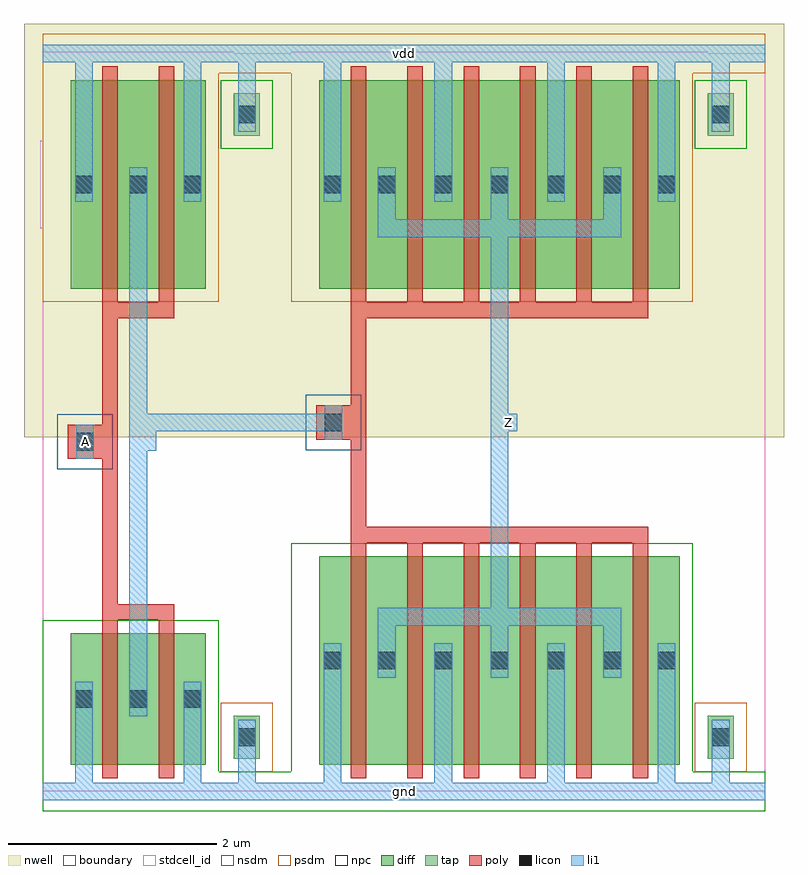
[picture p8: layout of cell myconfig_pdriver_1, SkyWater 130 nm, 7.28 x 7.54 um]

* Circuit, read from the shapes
.subckt myconfig_pdriver_1 A Z gnd vdd
XM1 myconfig_pinv_6_1/A A gnd gnd sky130_fd_pr__nfet_01v8 w=1.26 l=0.15 m=2
XM2 Z myconfig_pinv_6_1/A gnd gnd sky130_fd_pr__nfet_01v8 w=2 l=0.15 m=6
XM3 myconfig_pinv_6_1/A A vdd vdd sky130_fd_pr__pfet_01v8 w=2 l=0.15 m=2
XM4 Z myconfig_pinv_6_1/A vdd vdd sky130_fd_pr__pfet_01v8 w=2 l=0.15 m=6
.ends

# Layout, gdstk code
import gdstk
lib = gdstk.Library(unit=1e-6, precision=1e-09)
def R(c, l, rs):  # rectangles x0, y0, x1, y1
    for r in rs: c.add(gdstk.rectangle(r[:2], r[2:], *l))
def A(c, l, x, y, w, h, nx, ny, dx, dy):  # array of equal rectangles
    R(c, l, [(x+i*dx, y+j*dy, x+i*dx+w, y+j*dy+h) for i in range(nx) for j in range(ny)])
nwell = (64, 20)
diff = (65, 20)
tap = (65, 44)
poly = (66, 20)
licon = (66, 44)
li1 = (67, 20)
stdcell_id = (81, 4)
nsdm = (93, 44)
psdm = (94, 20)
npc = (95, 20)
boundary = (235, 4)

myconfig_contact_11 = lib.new_cell('myconfig_contact_11')
R(myconfig_contact_11, nwell, [(-0.295,-0.255,0.545,0.585)])
R(myconfig_contact_11, diff, [(0,0.02,0.25,0.31)])
R(myconfig_contact_11, licon, [(0.04,0.08,0.21,0.25)])
R(myconfig_contact_11, li1, [(0.04,0,0.21,0.33)])
R(myconfig_contact_11, stdcell_id, [(-0.295,-0.255,0.545,0.585)])
R(myconfig_contact_11, psdm, [(-0.125,-0.105,0.375,0.435)])
R(myconfig_contact_11, boundary, [(-0.295,-0.255,0.545,0.585)])

myconfig_pmos_m2_w2_000_ = lib.new_cell('myconfig_pmos_m2_w2_000_sli_dli_da_p')
R(myconfig_pmos_m2_w2_000_, nwell, [(-0.27,-0.27,1.56,2.27)])
R(myconfig_pmos_m2_w2_000_, diff, [(0,0,1.29,2)])
R(myconfig_pmos_m2_w2_000_, poly, [(0.3,-0.28,0.99,-0.13), (0.3,-0.13,0.45,2.13), (0.84,-0.13,0.99,2.13)])
A(myconfig_pmos_m2_w2_000_, li1, 0.04, 0.835, 0.17, 0.33, 3, 1, 0.52, 0)
R(myconfig_pmos_m2_w2_000_, stdcell_id, [(-0.27,-0.28,1.56,2.27)])
R(myconfig_pmos_m2_w2_000_, psdm, [(-0.125,-0.125,1.415,2.125)])
R(myconfig_pmos_m2_w2_000_, boundary, [(-0.27,-0.28,1.56,2.27)])
myconfig_pmos_m2_w2_000_.add(gdstk.Reference(myconfig_contact_11, (0,0.835)))
myconfig_pmos_m2_w2_000_.add(gdstk.Reference(myconfig_contact_11, (0.52,0.835)))
myconfig_pmos_m2_w2_000_.add(gdstk.Reference(myconfig_contact_11, (1.04,0.835)))
myconfig_pmos_m2_w2_000_.add(gdstk.Label('G', (0.645,-0.205), layer=66, texttype=5))
myconfig_pmos_m2_w2_000_.add(gdstk.Label('S', (0.125,1), layer=67, texttype=5))
myconfig_pmos_m2_w2_000_.add(gdstk.Label('S', (1.165,1), layer=67, texttype=5))
myconfig_pmos_m2_w2_000_.add(gdstk.Label('D', (0.645,1), layer=67, texttype=5))

myconfig_contact_10 = lib.new_cell('myconfig_contact_10')
R(myconfig_contact_10, diff, [(0,0.02,0.25,0.31)])
R(myconfig_contact_10, licon, [(0.04,0.08,0.21,0.25)])
R(myconfig_contact_10, li1, [(0.04,0,0.21,0.33)])
R(myconfig_contact_10, stdcell_id, [(-0.125,-0.105,0.375,0.435)])
R(myconfig_contact_10, nsdm, [(-0.125,-0.105,0.375,0.435)])
R(myconfig_contact_10, boundary, [(-0.125,-0.105,0.375,0.435)])

myconfig_nmos_m2_w1_260_ = lib.new_cell('myconfig_nmos_m2_w1_260_sli_dli_da_p')
R(myconfig_nmos_m2_w1_260_, diff, [(0,0,1.29,1.26)])
R(myconfig_nmos_m2_w1_260_, poly, [(0.3,-0.13,0.45,1.39), (0.84,-0.13,0.99,1.39), (0.3,1.39,0.99,1.54)])
A(myconfig_nmos_m2_w1_260_, li1, 0.04, 0.465, 0.17, 0.33, 3, 1, 0.52, 0)
R(myconfig_nmos_m2_w1_260_, stdcell_id, [(-0.125,-0.13,1.415,1.54)])
R(myconfig_nmos_m2_w1_260_, nsdm, [(-0.125,-0.125,1.415,1.385)])
R(myconfig_nmos_m2_w1_260_, boundary, [(-0.125,-0.13,1.415,1.54)])
myconfig_nmos_m2_w1_260_.add(gdstk.Reference(myconfig_contact_10, (0,0.465)))
myconfig_nmos_m2_w1_260_.add(gdstk.Reference(myconfig_contact_10, (0.52,0.465)))
myconfig_nmos_m2_w1_260_.add(gdstk.Reference(myconfig_contact_10, (1.04,0.465)))
myconfig_nmos_m2_w1_260_.add(gdstk.Label('G', (0.645,1.465), layer=66, texttype=5))
myconfig_nmos_m2_w1_260_.add(gdstk.Label('S', (1.165,0.63), layer=67, texttype=5))
myconfig_nmos_m2_w1_260_.add(gdstk.Label('S', (0.125,0.63), layer=67, texttype=5))
myconfig_nmos_m2_w1_260_.add(gdstk.Label('D', (0.645,0.63), layer=67, texttype=5))

myconfig_contact_28 = lib.new_cell('myconfig_contact_28')
R(myconfig_contact_28, nwell, [(-0.295,-0.215,0.545,0.625)])
R(myconfig_contact_28, tap, [(0,0,0.25,0.41)])
R(myconfig_contact_28, licon, [(0.04,0.12,0.21,0.29)])
R(myconfig_contact_28, li1, [(0.04,0.04,0.21,0.37)])
R(myconfig_contact_28, stdcell_id, [(-0.295,-0.215,0.545,0.625)])
R(myconfig_contact_28, nsdm, [(-0.125,-0.125,0.375,0.535)])
R(myconfig_contact_28, boundary, [(-0.295,-0.215,0.545,0.625)])

myconfig_contact_29 = lib.new_cell('myconfig_contact_29')
R(myconfig_contact_29, tap, [(0,0,0.25,0.41)])
R(myconfig_contact_29, licon, [(0.04,0.12,0.21,0.29)])
R(myconfig_contact_29, li1, [(0.04,0.04,0.21,0.37)])
R(myconfig_contact_29, stdcell_id, [(-0.125,-0.125,0.375,0.535)])
R(myconfig_contact_29, psdm, [(-0.125,-0.125,0.375,0.535)])
R(myconfig_contact_29, boundary, [(-0.125,-0.125,0.375,0.535)])

myconfig_contact_15 = lib.new_cell('myconfig_contact_15')
R(myconfig_contact_15, poly, [(0,0,0.33,0.33)])
R(myconfig_contact_15, licon, [(0.08,0.08,0.25,0.25)])
R(myconfig_contact_15, li1, [(0.08,0,0.25,0.33)])
R(myconfig_contact_15, stdcell_id, [(-0.1,-0.1,0.43,0.43)])
R(myconfig_contact_15, npc, [(-0.1,-0.1,0.43,0.43)])
R(myconfig_contact_15, boundary, [(-0.1,-0.1,0.43,0.43)])

myconfig_pinv_5 = lib.new_cell('myconfig_pinv_5')
R(myconfig_pinv_5, nwell, [(-0.18,3.395,2.56,7.355)])
R(myconfig_pinv_5, poly, [(0.57,1.795,0.72,4.535), (0.405,3.185,0.57,3.515)])
R(myconfig_pinv_5, li1, [(0,-0.085,2.38,0.085), (0.31,-0.085,0.48,0.72), (1.35,-0.085,1.52,0.72), (1.87,0,2.04,0.52), (0.83,0.72,1,5.98), (0.32,3.185,0.49,3.515), (0.915,3.265,1.085,3.435), (0.31,5.65,0.48,7.155), (1.35,5.65,1.52,7.155), (1.87,6.485,2.04,7.07), (0,6.985,2.38,7.155)])
R(myconfig_pinv_5, stdcell_id, [(0,0,2.38,7.07), (0,0,2.38,7.07)])
R(myconfig_pinv_5, nsdm, [(0,-0.19,2.38,0.19), (0,0,1.685,1.64)])
R(myconfig_pinv_5, psdm, [(0,4.69,1.685,7.07), (0,6.88,2.38,7.26)])
R(myconfig_pinv_5, boundary, [(0,0,2.38,7.07), (0,0,2.38,7.07)])
myconfig_pinv_5.add(gdstk.Reference(myconfig_pmos_m2_w2_000_, (0.27,4.815)))
myconfig_pinv_5.add(gdstk.Reference(myconfig_nmos_m2_w1_260_, (0.27,0.255)))
myconfig_pinv_5.add(gdstk.Reference(myconfig_contact_28, (1.83,6.28)))
myconfig_pinv_5.add(gdstk.Reference(myconfig_contact_29, (1.83,0.315)))
myconfig_pinv_5.add(gdstk.Reference(myconfig_contact_15, (0.24,3.185)))
myconfig_pinv_5.add(gdstk.Label('A', (0.405,3.35), layer=67, texttype=5))
myconfig_pinv_5.add(gdstk.Label('Z', (1,3.35), layer=67, texttype=5))
myconfig_pinv_5.add(gdstk.Label('gnd', (1.19,0), layer=67, texttype=5))
myconfig_pinv_5.add(gdstk.Label('vdd', (1.19,7.07), layer=67, texttype=5))

myconfig_pmos_m6_w2_000_ = lib.new_cell('myconfig_pmos_m6_w2_000_sli_dli_da_p')
R(myconfig_pmos_m6_w2_000_, nwell, [(-0.27,-0.27,3.72,2.27)])
R(myconfig_pmos_m6_w2_000_, diff, [(0,0,3.45,2)])
A(myconfig_pmos_m6_w2_000_, poly, 0.3, -0.13, 0.15, 2.26, 6, 1, 0.54, 0)
R(myconfig_pmos_m6_w2_000_, poly, [(0.3,-0.28,3.15,-0.13)])
A(myconfig_pmos_m6_w2_000_, li1, 0.56, 0.58, 0.17, 0.42, 3, 1, 1.08, 0)
R(myconfig_pmos_m6_w2_000_, li1, [(0.56,0.495,2.89,0.665), (0.04,0.835,0.21,1.165), (1.1,0.835,1.27,1.165), (2.18,0.835,2.35,1.165), (3.24,0.835,3.41,1.165)])
R(myconfig_pmos_m6_w2_000_, stdcell_id, [(-0.27,-0.28,3.72,2.27)])
R(myconfig_pmos_m6_w2_000_, psdm, [(-0.125,-0.125,3.575,2.125)])
R(myconfig_pmos_m6_w2_000_, boundary, [(-0.27,-0.28,3.72,2.27)])
myconfig_pmos_m6_w2_000_.add(gdstk.Reference(myconfig_contact_11, (0,0.835)))
myconfig_pmos_m6_w2_000_.add(gdstk.Reference(myconfig_contact_11, (0.52,0.835)))
myconfig_pmos_m6_w2_000_.add(gdstk.Reference(myconfig_contact_11, (1.06,0.835)))
myconfig_pmos_m6_w2_000_.add(gdstk.Reference(myconfig_contact_11, (1.6,0.835)))
myconfig_pmos_m6_w2_000_.add(gdstk.Reference(myconfig_contact_11, (2.14,0.835)))
myconfig_pmos_m6_w2_000_.add(gdstk.Reference(myconfig_contact_11, (2.68,0.835)))
myconfig_pmos_m6_w2_000_.add(gdstk.Reference(myconfig_contact_11, (3.2,0.835)))
myconfig_pmos_m6_w2_000_.add(gdstk.Label('G', (1.725,-0.205), layer=66, texttype=5))
myconfig_pmos_m6_w2_000_.add(gdstk.Label('S', (3.325,1), layer=67, texttype=5))
myconfig_pmos_m6_w2_000_.add(gdstk.Label('S', (0.125,1), layer=67, texttype=5))
myconfig_pmos_m6_w2_000_.add(gdstk.Label('S', (2.265,1), layer=67, texttype=5))
myconfig_pmos_m6_w2_000_.add(gdstk.Label('S', (1.185,1), layer=67, texttype=5))
myconfig_pmos_m6_w2_000_.add(gdstk.Label('D', (1.725,0.58), layer=67, texttype=5))

myconfig_nmos_m6_w2_000_ = lib.new_cell('myconfig_nmos_m6_w2_000_sli_dli_da_p')
R(myconfig_nmos_m6_w2_000_, diff, [(0,0,3.45,2)])
A(myconfig_nmos_m6_w2_000_, poly, 0.3, -0.13, 0.15, 2.26, 6, 1, 0.54, 0)
R(myconfig_nmos_m6_w2_000_, poly, [(0.3,2.13,3.15,2.28)])
A(myconfig_nmos_m6_w2_000_, li1, 0.56, 1, 0.17, 0.42, 3, 1, 1.08, 0)
R(myconfig_nmos_m6_w2_000_, li1, [(0.04,0.835,0.21,1.165), (1.1,0.835,1.27,1.165), (2.18,0.835,2.35,1.165), (3.24,0.835,3.41,1.165), (0.56,1.335,2.89,1.505)])
R(myconfig_nmos_m6_w2_000_, stdcell_id, [(-0.125,-0.13,3.575,2.28)])
R(myconfig_nmos_m6_w2_000_, nsdm, [(-0.125,-0.125,3.575,2.125)])
R(myconfig_nmos_m6_w2_000_, boundary, [(-0.125,-0.13,3.575,2.28)])
myconfig_nmos_m6_w2_000_.add(gdstk.Reference(myconfig_contact_10, (0,0.835)))
myconfig_nmos_m6_w2_000_.add(gdstk.Reference(myconfig_contact_10, (0.52,0.835)))
myconfig_nmos_m6_w2_000_.add(gdstk.Reference(myconfig_contact_10, (1.06,0.835)))
myconfig_nmos_m6_w2_000_.add(gdstk.Reference(myconfig_contact_10, (1.6,0.835)))
myconfig_nmos_m6_w2_000_.add(gdstk.Reference(myconfig_contact_10, (2.14,0.835)))
myconfig_nmos_m6_w2_000_.add(gdstk.Reference(myconfig_contact_10, (2.68,0.835)))
myconfig_nmos_m6_w2_000_.add(gdstk.Reference(myconfig_contact_10, (3.2,0.835)))
myconfig_nmos_m6_w2_000_.add(gdstk.Label('G', (1.725,2.205), layer=66, texttype=5))
myconfig_nmos_m6_w2_000_.add(gdstk.Label('S', (3.325,1), layer=67, texttype=5))
myconfig_nmos_m6_w2_000_.add(gdstk.Label('S', (0.125,1), layer=67, texttype=5))
myconfig_nmos_m6_w2_000_.add(gdstk.Label('S', (2.265,1), layer=67, texttype=5))
myconfig_nmos_m6_w2_000_.add(gdstk.Label('S', (1.185,1), layer=67, texttype=5))
myconfig_nmos_m6_w2_000_.add(gdstk.Label('D', (1.725,1.42), layer=67, texttype=5))

myconfig_pinv_6 = lib.new_cell('myconfig_pinv_6')
R(myconfig_pinv_6, nwell, [(-0.18,3.395,4.72,7.355)])
R(myconfig_pinv_6, poly, [(0.57,2.535,0.72,4.535), (0.405,3.37,0.57,3.7)])
R(myconfig_pinv_6, li1, [(0,-0.085,4.54,0.085), (0.31,-0.085,0.48,1.09), (1.37,-0.085,1.54,1.09), (2.45,-0.085,2.62,1.09), (3.51,-0.085,3.68,1.09), (4.03,0,4.2,0.52), (1.91,1.59,2.08,5.48), (0.32,3.37,0.49,3.7), (1.995,3.45,2.165,3.62), (0.31,5.65,0.48,7.155), (1.37,5.65,1.54,7.155), (2.45,5.65,2.62,7.155), (3.51,5.65,3.68,7.155), (4.03,6.485,4.2,7.07), (0,6.985,4.54,7.155)])
R(myconfig_pinv_6, stdcell_id, [(0,0,4.54,7.07), (0,0,4.54,7.07)])
R(myconfig_pinv_6, nsdm, [(0,-0.19,4.54,0.19), (0,0,3.845,2.38)])
R(myconfig_pinv_6, psdm, [(0,4.69,3.845,7.07), (0,6.88,4.54,7.26)])
R(myconfig_pinv_6, boundary, [(0,0,4.54,7.07), (0,0,4.54,7.07)])
myconfig_pinv_6.add(gdstk.Reference(myconfig_pmos_m6_w2_000_, (0.27,4.815)))
myconfig_pinv_6.add(gdstk.Reference(myconfig_nmos_m6_w2_000_, (0.27,0.255)))
myconfig_pinv_6.add(gdstk.Reference(myconfig_contact_28, (3.99,6.28)))
myconfig_pinv_6.add(gdstk.Reference(myconfig_contact_29, (3.99,0.315)))
myconfig_pinv_6.add(gdstk.Reference(myconfig_contact_15, (0.24,3.37)))
myconfig_pinv_6.add(gdstk.Label('A', (0.405,3.535), layer=67, texttype=5))
myconfig_pinv_6.add(gdstk.Label('Z', (2.08,3.535), layer=67, texttype=5))
myconfig_pinv_6.add(gdstk.Label('gnd', (2.27,0), layer=67, texttype=5))
myconfig_pinv_6.add(gdstk.Label('vdd', (2.27,7.07), layer=67, texttype=5))

myconfig_pdriver_1 = lib.new_cell('myconfig_pdriver_1')
R(myconfig_pdriver_1, nwell, [(-0.18,3.395,7.1,7.355)])
R(myconfig_pdriver_1, li1, [(0,-0.085,6.92,0.085), (0.32,3.185,0.49,3.515), (0.915,3.35,1.085,3.535), (0.915,3.45,1.085,3.62), (1,3.45,2.785,3.62), (4.375,3.45,4.545,3.62), (0,6.985,6.92,7.155)])
R(myconfig_pdriver_1, stdcell_id, [(0,0,6.92,7.07), (0,0,6.92,7.07)])
R(myconfig_pdriver_1, nsdm, [(0,-0.19,6.92,0.19)])
R(myconfig_pdriver_1, psdm, [(0,6.88,6.92,7.26)])
R(myconfig_pdriver_1, boundary, [(0,0,6.92,7.07), (0,0,6.92,7.07)])
myconfig_pdriver_1.add(gdstk.Reference(myconfig_pinv_5, (0,0)))
myconfig_pdriver_1.add(gdstk.Reference(myconfig_pinv_6, (2.38,0)))
myconfig_pdriver_1.add(gdstk.Label('Z', (4.46,3.535), layer=67, texttype=5))
myconfig_pdriver_1.add(gdstk.Label('A', (0.405,3.35), layer=67, texttype=5))
myconfig_pdriver_1.add(gdstk.Label('gnd', (3.46,0), layer=67, texttype=5))
myconfig_pdriver_1.add(gdstk.Label('vdd', (3.46,7.07), layer=67, texttype=5))

lib.write_gds('myconfig_pdriver_1.gds')
